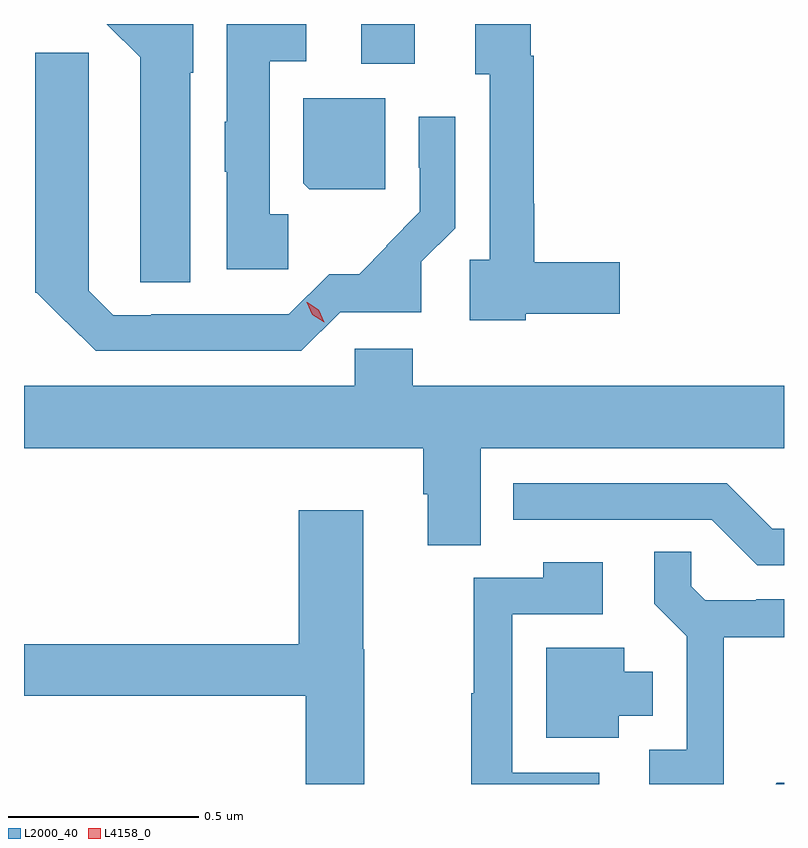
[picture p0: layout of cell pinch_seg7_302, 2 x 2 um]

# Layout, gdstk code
import gdstk
lib = gdstk.Library(unit=1e-6, precision=1e-09)
def R(c, l, rs):  # rectangles x0, y0, x1, y1
    for r in rs: c.add(gdstk.rectangle(r[:2], r[2:], *l))
def P(c, l, *ps):  # polygons
    for p in ps: c.add(gdstk.Polygon(p, *l))
L2000_40 = (2000, 40)
L4158_0 = (4158, 0)

pinch_seg7_302 = lib.new_cell('pinch_seg7_302')
R(pinch_seg7_302, L2000_40, [(570.425,1080.216,570.565,1080.32)])
P(pinch_seg7_302, L2000_40, [(570.232,1079.82),(570.184,1079.82),(570.184,1080.222),(570.28,1080.222),(570.28,1080.32),(570.071,1080.32),(570.071,1080.063),(570.065,1080.063),(570.065,1079.931),(570.071,1079.931),(570.071,1079.675),(570.232,1079.675)],
  [(570.858,1079.558),(571.105,1079.558),(571.105,1079.693),(570.88,1079.693),(570.88,1079.847),(570.878,1079.847),(570.878,1080.236),(570.871,1080.236),(570.871,1080.32),(570.725,1080.32),(570.725,1080.188),(570.762,1080.188),(570.762,1079.7),(570.71,1079.7),(570.71,1079.54),(570.858,1079.54)],
  [(569.974,1080.192),(569.983,1080.192),(569.983,1080.32),(569.755,1080.32),(569.843,1080.232),(569.843,1079.641),(569.974,1079.641)],
  [(570.369,1079.562),(570.583,1079.562),(570.583,1079.694),(570.672,1079.783),(570.672,1080.076),(570.576,1080.076),(570.576,1079.942),(570.579,1079.942),(570.579,1079.826),(570.49,1079.737),(570.492,1079.735),(570.419,1079.662),(570.34,1079.662),(570.234,1079.556),(569.872,1079.556),(569.872,1079.553),(569.772,1079.553),(569.708,1079.618),(569.708,1079.722),(569.707,1079.722),(569.707,1080.244),(569.567,1080.244),(569.567,1079.613),(569.57,1079.613),(569.647,1079.536),(569.648,1079.537),(569.726,1079.46),(570.267,1079.46)],
  [(570.487,1080.124),(570.272,1080.124),(570.272,1079.901),(570.288,1079.885),(570.487,1079.885)],
  [(570.739,1079.204),(571.537,1079.204),(571.537,1079.368),(570.56,1079.368),(570.56,1079.466),(570.408,1079.466),(570.408,1079.368),(569.537,1079.368),(569.537,1079.204),(570.587,1079.204),(570.587,1079.082),(570.599,1079.082),(570.599,1078.948),(570.739,1078.948)],
  [(571.537,1078.992),(571.506,1078.992),(571.386,1079.112),(570.824,1079.112),(570.824,1079.016),(571.347,1079.016),(571.467,1078.896),(571.537,1078.896)],
  [(570.432,1078.674),(570.43,1078.674),(570.43,1079.041),(570.26,1079.041),(570.26,1078.688),(569.537,1078.688),(569.537,1078.552),(570.278,1078.552),(570.278,1078.32),(570.432,1078.32)],
  [(571.379,1078.706),(571.537,1078.706),(571.537,1078.806),(571.464,1078.806),(571.464,1078.803),(571.33,1078.803),(571.293,1078.84),(571.293,1078.931),(571.195,1078.931),(571.195,1078.795),(571.281,1078.709),(571.281,1078.41),(571.182,1078.41),(571.182,1078.32),(571.379,1078.32)],
  [(571.051,1078.35),(570.822,1078.35),(570.822,1078.767),(571.06,1078.767),(571.06,1078.903),(570.904,1078.903),(570.904,1078.863),(570.721,1078.863),(570.721,1078.559),(570.714,1078.559),(570.714,1078.32),(571.051,1078.32)],
  [(571.102,1078.499),(571.192,1078.499),(571.192,1078.615),(571.117,1078.615),(571.117,1078.678),(570.911,1078.678),(570.911,1078.442),(571.102,1078.442)],
  [(571.537,1078.323),(571.518,1078.323),(571.515,1078.32),(571.537,1078.32)])
P(pinch_seg7_302, L4158_0, [(570.327,1079.535),(570.296,1079.555),(570.281,1079.588),(570.281,1079.588),(570.282,1079.588),(570.312,1079.568),(570.327,1079.535),(570.327,1079.535)])

lib.write_gds('pinch_seg7_302.gds')
